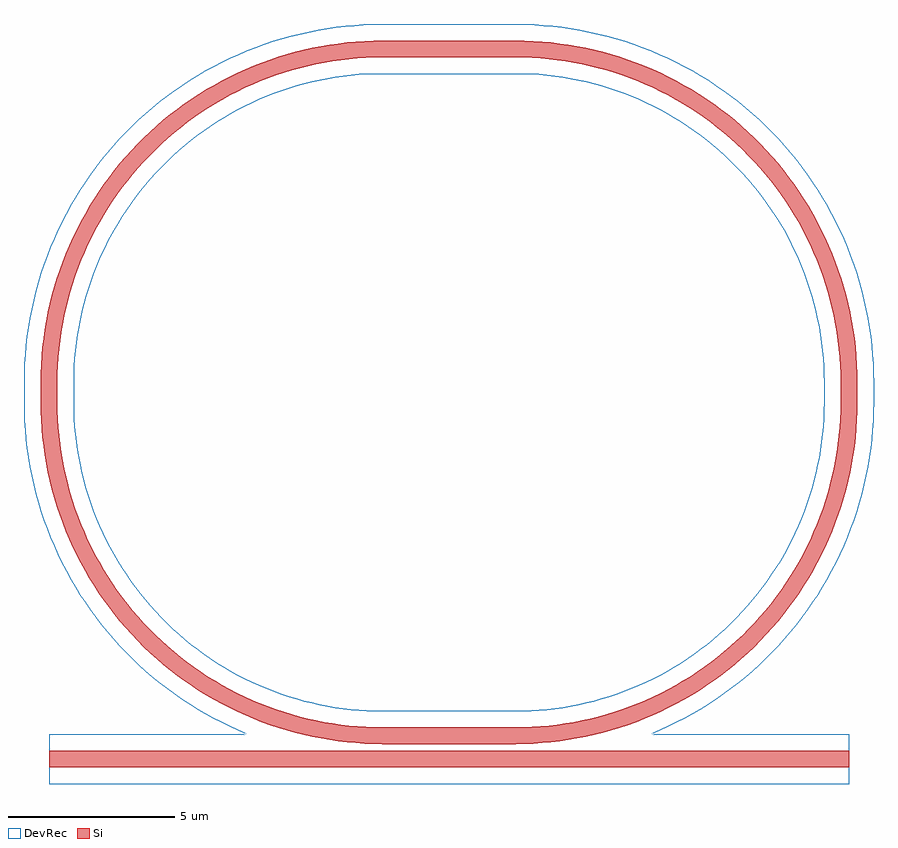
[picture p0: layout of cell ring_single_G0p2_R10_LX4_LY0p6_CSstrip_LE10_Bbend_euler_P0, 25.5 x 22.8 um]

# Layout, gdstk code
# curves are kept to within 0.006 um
from math import pi, radians
import gdstk
lib = gdstk.Library(unit=1e-6, precision=1e-09)
def R(c, l, rs):  # rectangles x0, y0, x1, y1
    for r in rs: c.add(gdstk.rectangle(r[:2], r[2:], *l))
def P(c, l, *ps):  # polygons
    for p in ps: c.add(gdstk.Polygon(p, *l))
Si = (1, 0)
DevRec = (68, 0)

coupler_ring_lx4_g0p2_r1 = lib.new_cell('coupler_ring_LX4_G0p2_R10_Bbend_euler_R10_A90_P0_WNone__88a3ef29')
R(coupler_ring_lx4_g0p2_r1, Si, [(-14,-0.25,10,0.25)])
P(coupler_ring_lx4_g0p2_r1, Si, [(-4,0.45),(-4.528,0.464),(-5.054,0.504),(-5.577,0.572),(-5.838,0.616),(-6.354,0.724),(-6.865,0.858),(-7.368,1.019),(-7.861,1.205),(-8.105,1.308),(-8.583,1.531),(-9.049,1.78),(-9.501,2.051),(-9.939,2.346),(-10.361,2.663),(-10.767,3.001),(-11.154,3.359),(-11.522,3.737),(-11.871,4.134),(-12.198,4.548),(-12.504,4.978),(-12.787,5.423),(-13.047,5.883),(-13.283,6.355),(-13.495,6.839),(-13.681,7.332),(-13.842,7.835),(-13.976,8.346),(-14.084,8.862),(-14.128,9.123),(-14.196,9.646),(-14.236,10.172),(-14.25,10.7),(-13.75,10.7),(-13.747,10.449),(-13.721,9.948),(-13.669,9.448),(-13.592,8.952),(-13.489,8.461),(-13.361,7.975),(-13.209,7.497),(-13.032,7.027),(-12.831,6.567),(-12.721,6.341),(-12.606,6.118),(-12.359,5.681),(-12.227,5.467),(-11.947,5.051),(-11.645,4.649),(-11.487,4.454),(-11.155,4.077),(-10.805,3.718),(-10.436,3.376),(-10.051,3.055),(-9.649,2.753),(-9.233,2.473),(-9.019,2.341),(-8.582,2.094),(-8.133,1.869),(-7.673,1.668),(-7.203,1.491),(-6.965,1.412),(-6.483,1.271),(-5.994,1.156),(-5.5,1.066),(-5.003,1.002),(-4.502,0.963),(-4,0.95),(0.251,0.953),(0.752,0.979),(1.003,1.002),(1.5,1.066),(1.748,1.108),(2.239,1.211),(2.725,1.339),(3.203,1.491),(3.673,1.668),(4.133,1.869),(4.582,2.094),(5.019,2.341),(5.443,2.611),(5.852,2.902),(6.246,3.213),(6.623,3.545),(6.805,3.718),(7.155,4.077),(7.487,4.454),(7.798,4.848),(8.089,5.257),(8.359,5.681),(8.606,6.118),(8.721,6.341),(8.831,6.567),(9.032,7.027),(9.209,7.497),(9.288,7.735),(9.429,8.217),(9.544,8.706),(9.592,8.952),(9.669,9.448),(9.721,9.948),(9.747,10.449),(9.75,10.7),(10.25,10.7),(10.236,10.172),(10.196,9.646),(10.128,9.123),(10.084,8.862),(9.976,8.346),(9.842,7.835),(9.681,7.332),(9.495,6.839),(9.392,6.595),(9.169,6.117),(8.92,5.651),(8.787,5.423),(8.504,4.978),(8.198,4.548),(7.871,4.134),(7.699,3.933),(7.341,3.546),(7.154,3.359),(6.767,3.001),(6.361,2.663),(5.939,2.346),(5.501,2.051),(5.049,1.78),(4.583,1.531),(4.105,1.308),(3.861,1.205),(3.368,1.019),(2.865,0.858),(2.354,0.724),(1.838,0.616),(1.577,0.572),(1.054,0.504),(0.528,0.464),(0.264,0.453)])
P(coupler_ring_lx4_g0p2_r1, DevRec, [(-14,-0.75),(-14,0.75),(-8.069,0.75),(-8.557,0.964),(-8.806,1.084),(-9.295,1.344),(-9.534,1.484),(-9.77,1.629),(-10.229,1.938),(-10.672,2.271),(-10.886,2.445),(-11.097,2.625),(-11.503,3.001),(-11.699,3.197),(-12.075,3.603),(-12.429,4.028),(-12.762,4.471),(-12.919,4.699),(-13.071,4.93),(-13.356,5.405),(-13.616,5.894),(-13.736,6.143),(-13.958,6.65),(-14.059,6.908),(-14.241,7.431),(-14.322,7.696),(-14.463,8.231),(-14.523,8.501),(-14.622,9.046),(-14.661,9.32),(-14.718,9.87),(-14.736,10.147),(-14.75,10.7),(-13.25,10.7),(-13.238,10.224),(-13.201,9.749),(-13.14,9.277),(-13.003,8.575),(-12.881,8.115),(-12.736,7.661),(-12.568,7.215),(-12.378,6.779),(-12.165,6.353),(-11.93,5.938),(-11.674,5.536),(-11.398,5.148),(-11.103,4.775),(-10.788,4.417),(-10.456,4.076),(-10.106,3.752),(-9.741,3.447),(-9.36,3.161),(-8.762,2.77),(-8.347,2.535),(-7.921,2.322),(-7.704,2.224),(-7.263,2.045),(-6.813,1.888),(-6.356,1.755),(-6.125,1.697),(-5.658,1.6),(-5.423,1.56),(-4.951,1.499),(-4.476,1.462),(-4,1.45),(0.238,1.453),(0.476,1.462),(0.951,1.499),(1.423,1.56),(1.892,1.646),(2.356,1.755),(2.813,1.888),(3.263,2.045),(3.704,2.224),(4.136,2.426),(4.556,2.65),(4.964,2.895),(5.36,3.161),(5.741,3.447),(5.925,3.597),(6.106,3.752),(6.456,4.076),(6.788,4.417),(6.948,4.594),(7.253,4.959),(7.539,5.34),(7.93,5.938),(8.165,6.353),(8.378,6.779),(8.476,6.996),(8.655,7.437),(8.812,7.887),(9.003,8.575),(9.14,9.277),(9.201,9.749),(9.238,10.224),(9.25,10.7),(10.75,10.7),(10.736,10.147),(10.718,9.87),(10.661,9.32),(10.622,9.046),(10.523,8.501),(10.396,7.962),(10.322,7.696),(10.241,7.431),(10.059,6.908),(9.958,6.65),(9.736,6.143),(9.616,5.894),(9.356,5.405),(9.071,4.93),(8.919,4.699),(8.762,4.471),(8.429,4.028),(8.075,3.603),(7.699,3.197),(7.503,3.001),(7.097,2.625),(6.886,2.445),(6.672,2.271),(6.229,1.938),(5.77,1.629),(5.534,1.484),(5.295,1.344),(4.806,1.084),(4.557,0.964),(4.069,0.75),(10,0.75),(10,-0.75)])

bend_euler_r10_a90_p0_wn = lib.new_cell('bend_euler_R10_A90_P0_WNone_CSstrip_AMRVFalse')
P(bend_euler_r10_a90_p0_wn, Si, [(0,-0.25),(0,0.25),(0.502,0.263),(1.003,0.302),(1.5,0.366),(1.994,0.456),(2.483,0.571),(2.965,0.712),(3.203,0.791),(3.673,0.968),(4.133,1.169),(4.582,1.394),(5.019,1.641),(5.233,1.773),(5.649,2.053),(6.051,2.355),(6.246,2.513),(6.436,2.676),(6.805,3.018),(7.155,3.377),(7.487,3.754),(7.645,3.949),(7.947,4.351),(8.227,4.767),(8.359,4.981),(8.606,5.418),(8.721,5.641),(8.831,5.867),(9.032,6.327),(9.209,6.797),(9.361,7.275),(9.489,7.761),(9.592,8.252),(9.669,8.748),(9.721,9.248),(9.747,9.749),(9.75,10),(10.25,10),(10.236,9.472),(10.196,8.946),(10.128,8.423),(10.084,8.162),(9.976,7.646),(9.842,7.135),(9.681,6.632),(9.495,6.139),(9.392,5.895),(9.169,5.417),(8.92,4.951),(8.649,4.499),(8.354,4.061),(8.037,3.639),(7.699,3.233),(7.341,2.846),(6.963,2.478),(6.566,2.129),(6.152,1.802),(5.722,1.496),(5.277,1.213),(4.817,0.953),(4.345,0.717),(3.861,0.505),(3.368,0.319),(2.865,0.158),(2.354,0.024),(1.838,-0.084),(1.577,-0.128),(1.054,-0.196),(0.528,-0.236)])
P(bend_euler_r10_a90_p0_wn, DevRec, [(0,-0.75),(0,0.75),(0.476,0.762),(0.951,0.799),(1.423,0.86),(1.658,0.9),(2.125,0.997),(2.585,1.119),(3.039,1.264),(3.485,1.432),(3.704,1.524),(4.136,1.726),(4.556,1.95),(4.964,2.195),(5.36,2.461),(5.741,2.747),(6.106,3.052),(6.456,3.376),(6.624,3.544),(6.948,3.894),(7.253,4.259),(7.539,4.64),(7.805,5.036),(8.05,5.444),(8.274,5.864),(8.476,6.296),(8.655,6.737),(8.812,7.187),(8.945,7.644),(9.054,8.108),(9.14,8.577),(9.201,9.049),(9.238,9.524),(9.25,10),(10.75,10),(10.736,9.447),(10.693,8.895),(10.622,8.346),(10.523,7.801),(10.396,7.262),(10.322,6.996),(10.153,6.468),(9.958,5.95),(9.85,5.695),(9.616,5.194),(9.356,4.705),(9.071,4.23),(8.762,3.771),(8.429,3.328),(8.075,2.903),(7.699,2.497),(7.302,2.111),(6.886,1.745),(6.452,1.402),(6.001,1.081),(5.534,0.784),(5.052,0.511),(4.557,0.264),(4.05,0.042),(3.532,-0.153),(3.004,-0.322),(2.738,-0.396),(2.199,-0.523),(1.654,-0.622),(1.105,-0.693),(0.553,-0.736)])

straight_l4_csstrip_wnon = lib.new_cell('straight_L4_CSstrip_WNone_N2')
R(straight_l4_csstrip_wnon, Si, [(0,-0.25,4,0.25)])
R(straight_l4_csstrip_wnon, DevRec, [(0,-0.75,4,0.75)])

straight_l0p6_csstrip_wn = lib.new_cell('straight_L0p6_CSstrip_WNone_N2')
R(straight_l0p6_csstrip_wn, Si, [(0,-0.25,0.6,0.25)])
R(straight_l0p6_csstrip_wn, DevRec, [(0,-0.75,0.6,0.75)])

ring_single_g0p2_r10_lx4 = lib.new_cell('ring_single_G0p2_R10_LX4_LY0p6_CSstrip_LE10_Bbend_euler_P0')
ring_single_g0p2_r10_lx4.add(gdstk.Reference(coupler_ring_lx4_g0p2_r1, (0,0)))
ring_single_g0p2_r10_lx4.add(gdstk.Reference(bend_euler_r10_a90_p0_wn, (-4,21.3), rotation=pi))
ring_single_g0p2_r10_lx4.add(gdstk.Reference(bend_euler_r10_a90_p0_wn, (10,11.3), rotation=pi/2))
ring_single_g0p2_r10_lx4.add(gdstk.Reference(straight_l4_csstrip_wnon, (0,21.3), rotation=pi))
ring_single_g0p2_r10_lx4.add(gdstk.Reference(straight_l0p6_csstrip_wn, (-14,10.7), rotation=pi/2))
ring_single_g0p2_r10_lx4.add(gdstk.Reference(straight_l0p6_csstrip_wn, (10,11.3), rotation=3*pi/2))

lib.write_gds('ring_single_G0p2_R10_LX4_LY0p6_CSstrip_LE10_Bbend_euler_P0.gds')
